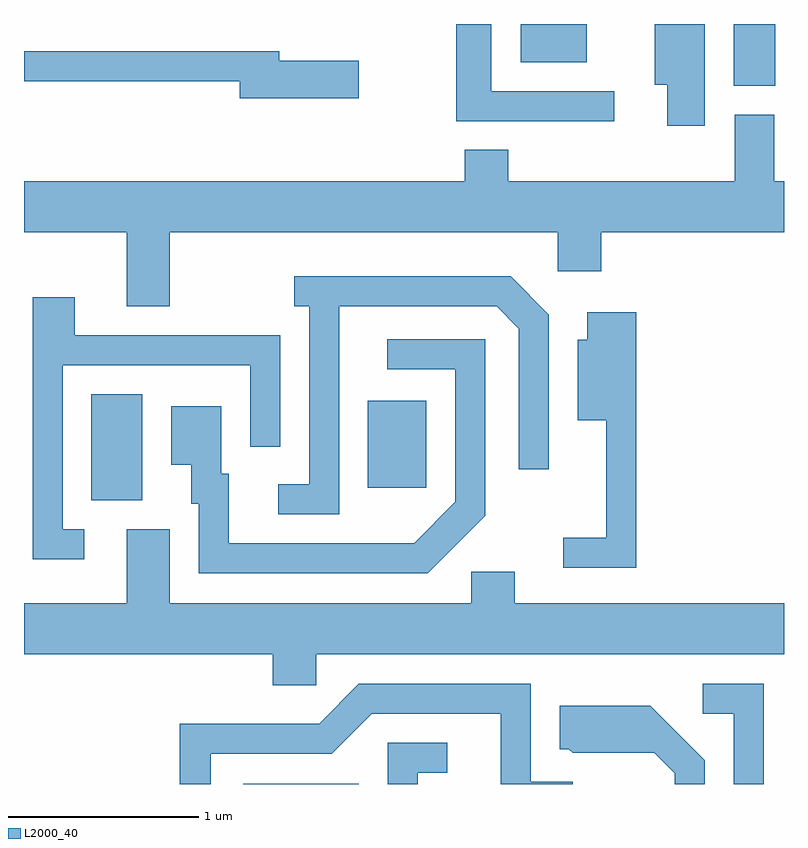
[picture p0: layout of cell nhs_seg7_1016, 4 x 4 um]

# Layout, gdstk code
import gdstk
lib = gdstk.Library(unit=1e-6, precision=1e-09)
def R(c, l, rs):  # rectangles x0, y0, x1, y1
    for r in rs: c.add(gdstk.rectangle(r[:2], r[2:], *l))
def P(c, l, *ps):  # polygons
    for p in ps: c.add(gdstk.Polygon(p, *l))
L2000_40 = (2000, 40)

nhs_seg7_1016 = lib.new_cell('nhs_seg7_1016')
R(nhs_seg7_1016, L2000_40, [(216.766,1760.252,217.374,1760.254), (215.966,1761.746,216.234,1762.304), (217.421,1761.811,217.729,1762.269), (219.346,1763.926,219.564,1764.252), (218.226,1764.051,218.574,1764.252)])
P(nhs_seg7_1016, L2000_40, [(219.194,1764.252),(218.931,1764.252),(218.931,1763.931),(218.996,1763.931),(218.996,1763.716),(219.194,1763.716)],
  [(218.718,1763.899),(218.069,1763.899),(218.069,1764.252),(217.886,1764.252),(217.886,1763.741),(218.718,1763.741)],
  [(217.374,1764.059),(216.954,1764.059),(216.954,1764.109),(215.611,1764.109),(215.611,1763.951),(216.746,1763.951),(216.746,1763.861),(217.374,1763.861)],
  [(216.379,1763.156),(218.421,1763.156),(218.421,1762.951),(218.649,1762.951),(218.649,1763.156),(219.611,1763.156),(219.611,1763.424),(219.559,1763.424),(219.559,1763.774),(219.351,1763.774),(219.351,1763.424),(218.159,1763.424),(218.159,1763.589),(217.931,1763.589),(217.931,1763.424),(215.611,1763.424),(215.611,1763.156),(216.151,1763.156),(216.151,1762.766),(216.379,1762.766)],
  [(217.269,1762.766),(218.099,1762.766),(218.216,1762.649),(218.216,1761.908),(218.374,1761.908),(218.374,1762.722),(218.172,1762.924),(217.033,1762.924),(217.033,1762.766),(217.111,1762.766),(217.111,1761.829),(216.948,1761.829),(216.948,1761.671),(217.269,1761.671)],
  [(215.928,1761.594),(215.814,1761.594),(215.814,1762.456),(216.801,1762.456),(216.801,1762.028),(216.959,1762.028),(216.959,1762.614),(215.879,1762.614),(215.879,1762.814),(215.656,1762.814),(215.656,1761.436),(215.928,1761.436)],
  [(218.834,1762.734),(218.576,1762.734),(218.576,1762.589),(218.526,1762.589),(218.526,1762.166),(218.676,1762.166),(218.676,1761.549),(218.448,1761.549),(218.448,1761.391),(218.834,1761.391)],
  [(218.039,1761.664),(218.039,1762.594),(217.523,1762.594),(217.523,1762.436),(217.881,1762.436),(217.881,1761.737),(217.664,1761.519),(216.689,1761.519),(216.689,1761.884),(216.649,1761.884),(216.649,1762.239),(216.386,1762.239),(216.386,1761.931),(216.491,1761.931),(216.491,1761.726),(216.531,1761.726),(216.531,1761.361),(217.737,1761.361)],
  [(217.149,1760.936),(219.611,1760.936),(219.611,1761.204),(218.194,1761.204),(218.194,1761.369),(217.966,1761.369),(217.966,1761.204),(216.379,1761.204),(216.379,1761.594),(216.151,1761.594),(216.151,1761.204),(215.611,1761.204),(215.611,1760.936),(216.921,1760.936),(216.921,1760.771),(217.149,1760.771)],
  [(219.504,1760.779),(219.183,1760.779),(219.183,1760.621),(219.346,1760.621),(219.346,1760.252),(219.504,1760.252)],
  [(216.594,1760.411),(217.232,1760.411),(217.442,1760.621),(218.121,1760.621),(218.121,1760.252),(218.499,1760.252),(218.499,1760.264),(218.279,1760.264),(218.279,1760.779),(217.374,1760.779),(217.164,1760.569),(216.431,1760.569),(216.431,1760.252),(216.594,1760.252)],
  [(219.194,1760.377),(218.907,1760.664),(218.431,1760.664),(218.431,1760.436),(218.479,1760.436),(218.499,1760.416),(218.929,1760.416),(219.036,1760.309),(219.036,1760.252),(219.194,1760.252)],
  [(217.684,1760.311),(217.838,1760.311),(217.838,1760.469),(217.526,1760.469),(217.526,1760.252),(217.684,1760.252)])

lib.write_gds('nhs_seg7_1016.gds')
